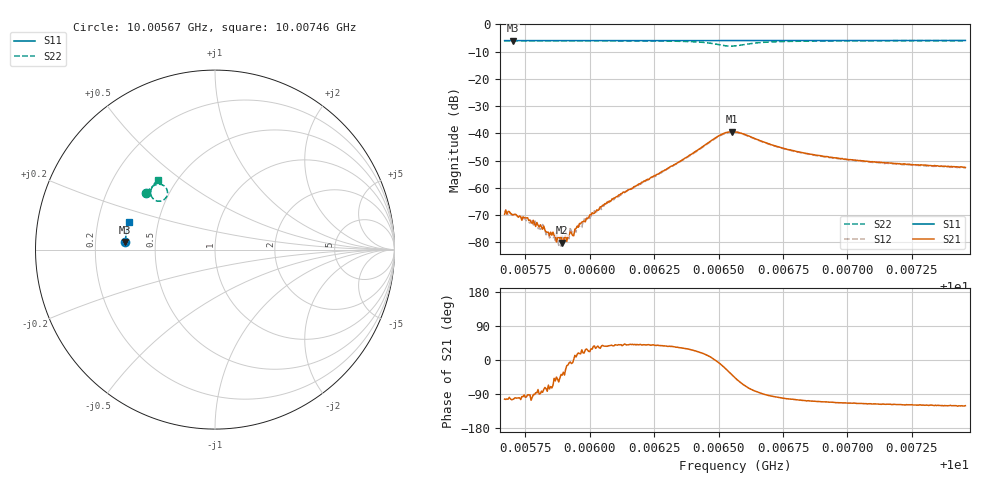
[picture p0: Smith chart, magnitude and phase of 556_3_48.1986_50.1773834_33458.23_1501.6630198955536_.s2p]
#  HZ  S  RI  R  50.00
! Rohde & Schwarz Vector Network Analyzer
! Rohde-Schwarz,ZNB20-2Port,1311601062101988,3.16
! Created: UTC 3/20/2024, 12:01:00 PM
! freq[Hz]  re:S11  im:S11  re:S21  im:S21  re:S12  im:S12  re:S22  im:S22
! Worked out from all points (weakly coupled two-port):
!   401 points, 10.00567 GHz to 10.00746 GHz, reference 50 ohm
!   highest |S21| = -39.40 dB at 10.00655 GHz (marker M1); lowest = -80.1 dB at 10.00589 GHz (marker M2)
!   lowest |S11| = -6.0 dB at 10.0057 GHz (marker M3), VSWR 3.01, Z = 16.6 + j1.86 ohm
!   |S11| at or under -10 dB: nowhere
!   |S22| runs from -8.0 to -6.0 dB; largest |S21 - S12| = 0.00068
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1.0005671e10  -0.5001 0.0399  -7.39e-05 -0.000319  -7.3e-05 -0.000376  -0.3835 0.3164
1.0005684e10  -0.5001 0.0408  -8.7e-05 -0.000358  -5.6e-05 -0.000327  -0.3829 0.3172
1.0005702e10  -0.4999 0.0419  -7.74e-05 -0.000309  -4.43e-05 -0.000321  -0.3822 0.3181
1.0005751e10  -0.4998 0.0452  -4.12e-05 -0.000278  -2.79e-05 -0.000266  -0.3798 0.3211
1.0005787e10  -0.4996 0.0473  -5.07e-06 -0.000218  1.17e-05 -0.000261  -0.378 0.3233
1.0005854e10  -0.4992 0.0519  3.77e-05 -0.00013  3.42e-05 -0.000123  -0.3745 0.3275
1.0005872e10  -0.4991 0.053  7.17e-05 -7.2e-05  0.000115 -0.000113  -0.3735 0.3286
1.0005894e10  -0.4991 0.0545  7.55e-05 -6.35e-05  9.86e-05 -8.71e-05  -0.3723 0.33
1.0005903e10  -0.499 0.055  9.64e-05 -8.04e-05  0.00011 -1.41e-05  -0.3717 0.3306
1.0005934e10  -0.4989 0.0571  0.000133 -1.73e-05  0.00016 -7.24e-06  -0.37 0.3326
1.0005939e10  -0.4989 0.0574  0.000132 2.86e-06  0.000166 -1.25e-06  -0.3697 0.3328
1.000597e10  -0.4987 0.0595  0.000211 0.000107  0.000177 6.21e-05  -0.3679 0.3348
1.0005983e10  -0.4986 0.0604  0.000213 0.000106  0.000241 0.000122  -0.367 0.3358
1.0006082e10  -0.4981 0.0666  0.000441 0.000356  0.000453 0.000387  -0.3605 0.3426
1.0006269e10  -0.4965 0.0788  0.00143 0.00113  0.00136 0.00119  -0.3414 0.3568
1.0006501e10  -0.4936 0.0936  0.00896 -0.00117  0.00878 -0.000657  -0.2662 0.3295
1.0006551e10  -0.493 0.0963  0.00839 -0.00667  0.0086 -0.00604  -0.2806 0.2808
1.0006564e10  -0.4929 0.0969  0.00726 -0.00781  0.0076 -0.00723  -0.2935 0.2732
1.0006734e10  -0.492 0.1079  -0.000871 -0.00556  -0.000564 -0.00551  -0.3587 0.3204
1.0006863e10  -0.4902 0.116  -0.00129 -0.00389  -0.00108 -0.00389  -0.3529 0.3432
1.0007162e10  -0.4864 0.135  -0.00129 -0.00257  -0.00116 -0.00256  -0.3359 0.3691
1.0007457e10  -0.4812 0.1534  -0.0012 -0.00204  -0.00111 -0.00205  -0.32 0.3859
